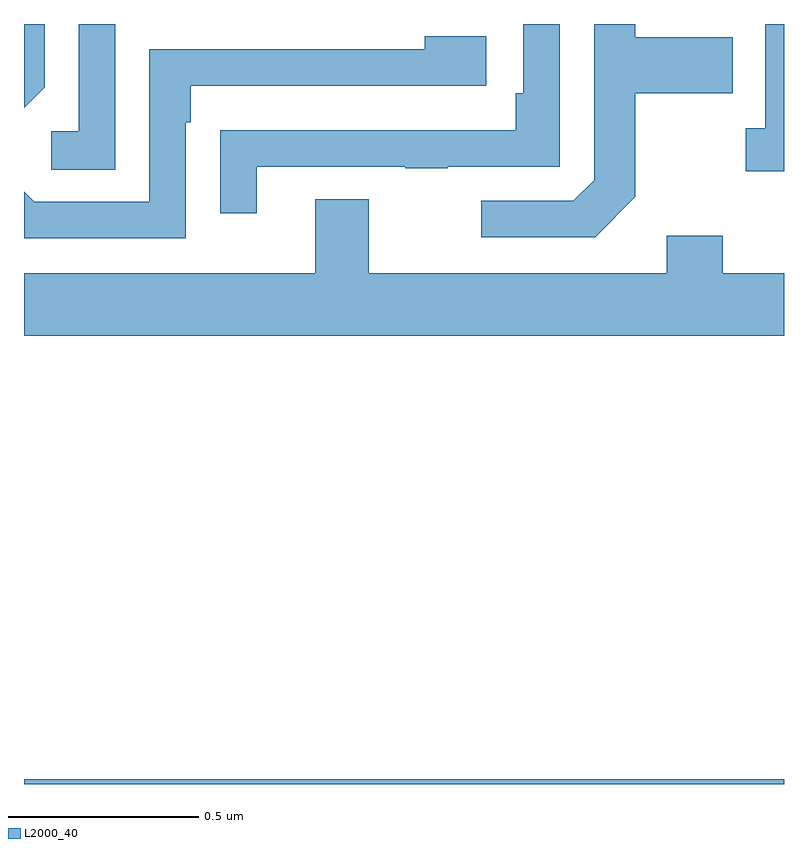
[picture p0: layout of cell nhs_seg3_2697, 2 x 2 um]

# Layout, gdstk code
import gdstk
lib = gdstk.Library(unit=1e-6, precision=1e-09)
def R(c, l, rs):  # rectangles x0, y0, x1, y1
    for r in rs: c.add(gdstk.rectangle(r[:2], r[2:], *l))
def P(c, l, *ps):  # polygons
    for p in ps: c.add(gdstk.Polygon(p, *l))
L2000_40 = (2000, 40)

nhs_seg3_2697 = lib.new_cell('nhs_seg3_2697')
R(nhs_seg3_2697, L2000_40, [(144,702.4,146,702.412)])
P(nhs_seg3_2697, L2000_40, [(144.054,704.234),(144.054,704.4),(144,704.4),(144,704.18)],
  [(146,704.4),(145.95,704.4),(145.95,704.126),(145.899,704.126),(145.899,704.013),(146,704.013)],
  [(144.24,704.4),(144.144,704.4),(144.144,704.118),(144.072,704.118),(144.072,704.017),(144.24,704.017)],
  [(144.613,704.025),(145.003,704.025),(145.003,704.02),(145.115,704.02),(145.115,704.025),(145.41,704.025),(145.41,704.4),(145.314,704.4),(145.314,704.218),(145.294,704.218),(145.294,704.121),(144.619,704.121),(144.619,704.12),(144.517,704.12),(144.517,703.902),(144.613,703.902)],
  [(145.609,703.945),(145.609,704.218),(145.865,704.218),(145.865,704.365),(145.609,704.365),(145.609,704.4),(145.5,704.4),(145.5,703.989),(145.446,703.935),(145.203,703.935),(145.203,703.839),(145.503,703.839)],
  [(144.426,704.141),(144.439,704.141),(144.439,704.238),(145.216,704.238),(145.216,704.368),(145.055,704.368),(145.055,704.334),(144.33,704.334),(144.33,703.932),(144.027,703.932),(144,703.959),(144,703.836),(144.426,703.836)],
  [(146,703.744),(145.839,703.744),(145.839,703.843),(145.691,703.843),(145.691,703.744),(144.907,703.744),(144.907,703.939),(144.767,703.939),(144.767,703.744),(144,703.744),(144,703.58),(146,703.58)])

lib.write_gds('nhs_seg3_2697.gds')
